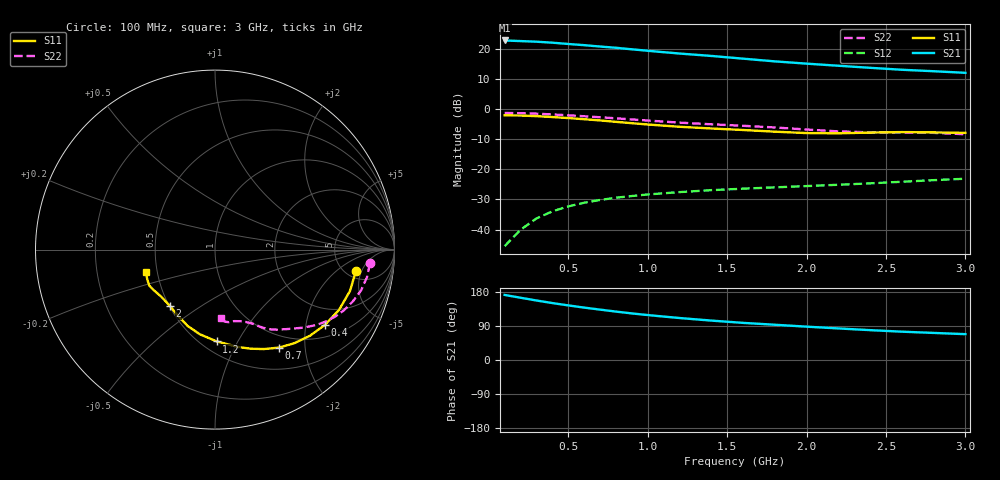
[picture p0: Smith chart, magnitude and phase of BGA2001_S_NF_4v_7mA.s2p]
! Title: BGA2001
! Bias: Vce=4V; Ic=7.0mA controlled / noise data included
! Company: Philips Semiconductors NL
! User: Quality&Reliability T&D
! Measure time: 23 Oct 1998 / 08:34:25
#  MHz  S  MA  R 50
! Freq  S11  S21  S12  S22  :
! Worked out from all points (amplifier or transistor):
!   20 points, 100 MHz to 3 GHz, reference 50 ohm
!   highest |S21| = 22.9 dB at 100 MHz (marker M1)
!   |S21| within 3 dB of that: start of sweep to 912.9 MHz
!   unconditionally stable (mu >= 1): 1.868 GHz to end of sweep
!   at 400 MHz: K = 0.34, MSG = 28.1 dB, |S12| = -34.0 dB
!   at 1.2 GHz: K = 0.68, MSG = 23.0 dB, |S12| = -27.6 dB
!   at 3 GHz: K = 1.25, MAG = 14.6 dB, |S12| = -23.1 dB
!   lowest NFmin = 1.45 dB at 1.8 GHz
!   S11 on the Smith chart (normalised r, x): 100 MHz: 6.16, -3.94; 400 MHz: 1.38, -2.58; 700 MHz: 0.81, -1.53; 1.2 GHz: 0.59, -0.82; 2 GHz: 0.50, -0.38; 3 GHz: 0.43, -0.13
100  0.7945 -8.5  13.94 171.7  0.005287 67.2  0.8669 -5.1
200  0.7866 -17.1  13.61 164.3  0.009872 74.9  0.8606 -10.3
300  0.7684 -25.9  13.29 157.1  0.01527 74.5  0.8447 -15.7
400  0.7426 -34.4  12.8 150.3  0.02003 71.4  0.8201 -20.7
500  0.7144 -42.2  12.19 144.1  0.02421 68.1  0.7937 -25.3
600  0.6833 -49.8  11.65 138.3  0.02787 65.2  0.7651 -29.3
700  0.6522 -56.8  11.05 133.0  0.03101 62.7  0.7364 -33.0
800  0.6179 -63.8  10.53 127.8  0.0338 60.5  0.7068 -36.2
900  0.5869 -70.2  9.942 122.9  0.03604 58.8  0.6776 -39.2
1000  0.558 -76.6  9.387 118.6  0.03827 57.5  0.6495 -42.1
1200  0.5116 -88.9  8.451 110.8  0.0419 55.5  0.5995 -47.6
1400  0.4791 -100.2  7.709 104.0  0.04516 54.4  0.5625 -52.5
1600  0.4521 -109.6  6.946 98.0  0.04777 54.5  0.5313 -56.5
1800  0.4239 -118.7  6.258 93.0  0.05023 55.6  0.4981 -59.7
2000  0.4018 -128.7  5.737 88.0  0.0528 55.9  0.4604 -63.4
2200  0.3983 -138.9  5.294 83.3  0.05553 56.1  0.4286 -68.7
2400  0.4093 -146.5  4.893 78.8  0.05862 57.0  0.413 -74.8
2600  0.4177 -151.4  4.539 74.8  0.06228 58.6  0.4115 -79.4
2800  0.4126 -156.1  4.29 71.5  0.06622 59.2  0.4052 -82.1
3000  0.4048 -162.0  4.036 68.2  0.06999 60.0  0.3845 -84.7
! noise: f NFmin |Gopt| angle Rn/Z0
900  1.47  0.26  20.2  0.3
1000  1.55  0.23  16.8  0.27
1800  1.45  0.239  72.9  0.263
2000  1.499  0.188  72.27  0.212
2200  1.612  0.167  82.61  0.213
2400  1.669  0.17  103.2  0.217
